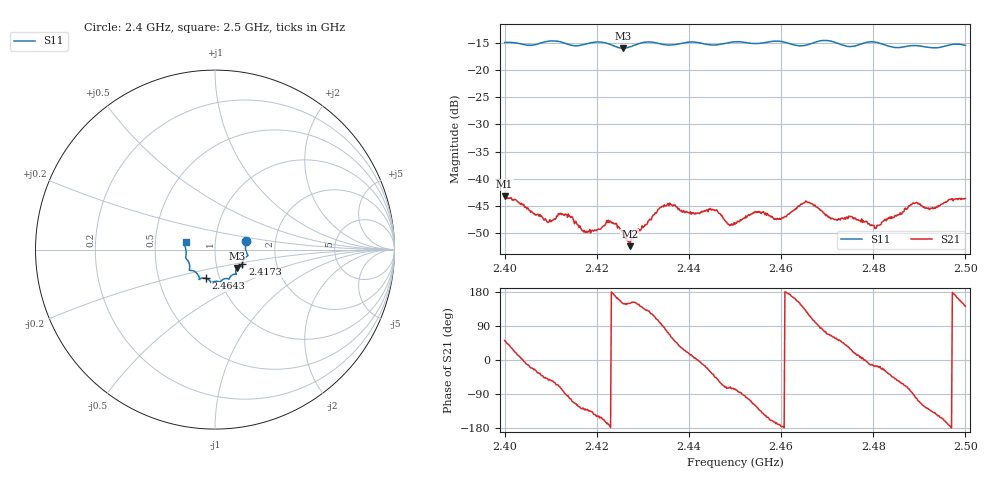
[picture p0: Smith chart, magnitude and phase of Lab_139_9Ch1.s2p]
# Hz S RI R 50
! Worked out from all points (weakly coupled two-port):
!   601 points, 2.4 GHz to 2.5 GHz, reference 50 ohm
!   highest |S21| = -43.25 dB at 2.4 GHz (marker M1); lowest = -52.5 dB at 2.4272 GHz (marker M2)
!   lowest |S11| = -15.9 dB at 2.4257 GHz (marker M3), VSWR 1.38, Z = 62.4 - j13.1 ohm
!   |S11| at or under -10 dB: start of sweep to end of sweep
!   S12 and S22 are empty: the file has one direction only
!   S11 on the Smith chart (normalised r, x): 2.4 GHz: 1.41, +0.14; 2.4173 GHz: 1.34, -0.23; 2.4643 GHz: 0.86, -0.28; 2.5 GHz: 0.72, +0.06
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2.4e9  0.1734 0.0494  0.00429 0.00538  0 0  0 0
2.409167e9  0.1821 -0.0293  0.00267 -0.00302  0 0  0 0
2.414333e9  0.1634 -0.0492  -0.000923 -0.00428  0 0  0 0
2.416667e9  0.1529 -0.0749  -0.00209 -0.00266  0 0  0 0
2.417333e9  0.1523 -0.0824  -0.00223 -0.00248  0 0  0 0
2.422667e9  0.1476 -0.0936  -0.00389 -0.000638  0 0  0 0
2.425667e9  0.1225 -0.1023  -0.00264 0.00155  0 0  0 0
2.427167e9  0.1161 -0.1158  -0.00205 0.00121  0 0  0 0
2.433333e9  0.1128 -0.1366  -0.0013 0.00506  0 0  0 0
2.435833e9  0.0955 -0.1418  0.00228 0.00549  0 0  0 0
2.445e9  0.0553 -0.1619  0.00416 -0.00304  0 0  0 0
2.45e9  0.0297 -0.1808  0.000877 -0.0037  0 0  0 0
2.454667e9  0.0046 -0.1764  -0.00262 -0.0041  0 0  0 0
2.46e9  -0.0235 -0.183  -0.00421 -0.000299  0 0  0 0
2.464333e9  -0.0503 -0.1602  -0.00478 0.00335  0 0  0 0
2.466667e9  -0.0762 -0.1597  -0.002 0.00553  0 0  0 0
2.471833e9  -0.0874 -0.1577  0.00231 0.00351  0 0  0 0
2.480667e9  -0.143 -0.1113  0.00336 -0.000935  0 0  0 0
2.483333e9  -0.1411 -0.0894  0.00352 -0.00259  0 0  0 0
2.489e9  -0.1626 -0.0459  -0.000549 -0.00589  0 0  0 0
2.492667e9  -0.1603 -0.0175  -0.00382 -0.00375  0 0  0 0
2.5e9  -0.1642 0.0422  -0.00514 0.00406  0 0  0 0
